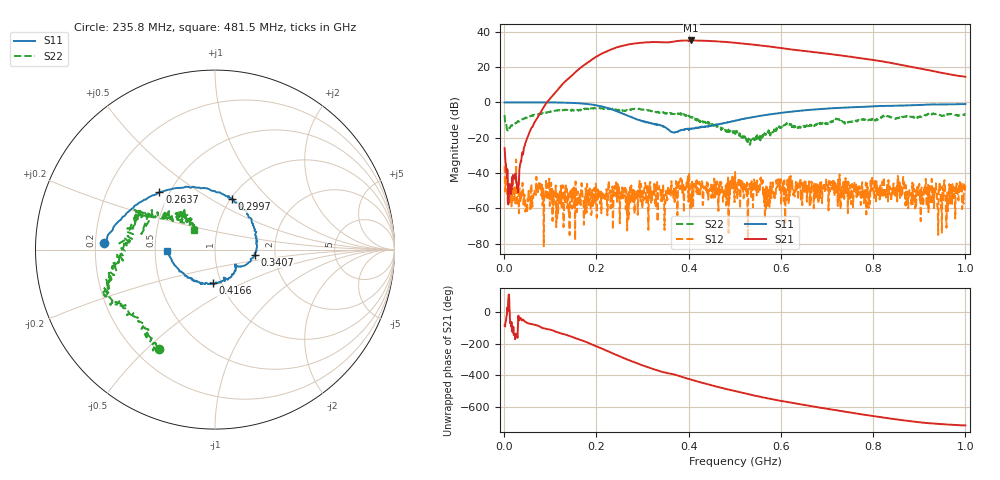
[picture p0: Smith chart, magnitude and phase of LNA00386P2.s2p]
! Created with skrf 1.9.0 (http://scikit-rf.org).
# Hz S RI R 50.0
!freq ReS11 ImS11 ReS21 ImS21 ReS12 ImS12 ReS22 ImS22
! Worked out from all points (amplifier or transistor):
!   1001 points, 1 MHz to 1 GHz, reference 50 ohm
!   highest |S21| = 35.0 dB at 405.6 MHz (marker M1)
!   |S21| within 3 dB of that: 256.9 MHz to 561.1 MHz (304.2 MHz wide, 74.4 % of centre) (the widest 1 of 2)
!   unconditionally stable (mu >= 1): 204.9 MHz to 226.3 MHz; 227.1 MHz to 293.7 MHz; 293.7 MHz to end of sweep (the widest 3 of 43)
!   at 166.8 MHz: K = 1.75, MAG = 29.8 dB, |S12| = -49.8 dB
!   at 500.5 MHz: K = 1.12, MAG = 34.5 dB, |S12| = -39.3 dB
!   at 1 GHz: K = 3.15, MAG = 22.9 dB, |S12| = -46.9 dB
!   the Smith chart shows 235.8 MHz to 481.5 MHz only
!   S11 on the Smith chart (normalised r, x): 235.8 MHz: 0.24, +0.03; 263.7 MHz: 0.44, +0.35; 299.7 MHz: 1.01, +0.62; 340.7 MHz: 1.56, -0.09; 416.6 MHz: 0.91, -0.35; 481.5 MHz: 0.58, -0.01
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1000000  0.9949 0.0182  0.00642 -0.0504  -0.0131 0.00931  0.3229 0.2942
1.08892e8  0.5298 -0.8444  -0.8362 -1.549  -0.00142 0.00141  0.4143 -0.3915
1.67833e8  -0.2217 -0.9055  -10.09 -0.483  0.00524 6.91e-05  0.00736 -0.6527
2.07793e8  -0.6545 -0.4309  -15.93 15.87  0.000628 -0.00129  -0.2323 -0.6471
2.35765e8  -0.6167 0.0347  -5.014 32.6  -0.00018 0.000174  -0.3136 -0.5539
2.63737e8  -0.3096 0.3206  18.28 37.48  -0.000448 0.000831  -0.4638 -0.366
2.8072e8  -0.1023 0.3447  32.78 32.25  -0.00324 -0.00086  -0.5714 -0.2847
2.99701e8  0.0931 0.2804  45.06 19.55  -0.000998 -1.56e-05  -0.5895 -0.2172
3.34666e8  0.234 0.0158  49.83 -10.27  -0.000639 0.00378  -0.5127 -0.0317
3.4066e8  0.2202 -0.0276  48.31 -14.63  -0.00172 6.05e-05  -0.5179 -0.000284
3.75625e8  0.1136 -0.0928  40.72 -36.18  -0.000626 0.000127  -0.4255 0.1858
4.05595e8  0.0389 -0.1752  20.9 -52.47  0.00046 0.000936  -0.3439 0.1796
4.16584e8  -0.0138 -0.1879  11.95 -55.1  0.00209 0.00202  -0.2862 0.1799
4.45555e8  -0.1535 -0.1532  -10.11 -53.52  0.00247 0.00259  -0.1807 0.1697
4.81519e8  -0.2663 -0.00531  -31.49 -40.23  0.000941 -0.000764  -0.1181 0.1117
5.005e8  -0.2879 0.1057  -38.16 -30.44  0.0107 -0.00129  -0.0994 0.059
5.39461e8  -0.234 0.3062  -42.11 -9.247  0.00107 -2.39e-05  -0.0922 -0.027
5.85415e8  -0.0566 0.4739  -35.22 9.949  0.00169 -0.00109  -0.161 -0.0602
6.67333e8  0.3206 0.5331  -14.03 22.68  0.000752 -0.00383  -0.2224 -0.0387
7.55245e8  0.6285 0.3718  3.293 18.88  0.00159 -0.00394  -0.2917 0.0229
8.34166e8  0.7831 0.1504  9.445 9.501  -0.00151 -0.00201  -0.3903 0.043
1e9  0.8188 -0.3702  5.336 -0.0244  -0.00448 -0.000525  -0.266 0.3691
